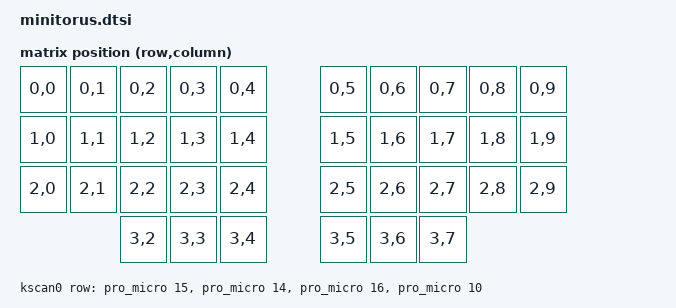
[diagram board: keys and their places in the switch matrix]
#include <dt-bindings/zmk/matrix_transform.h>
#include "minitorus-layout.dtsi"

&physical_layout0 {
  transform = <&default_transform>;
};

    / {
        chosen {
            zmk,kscan = &kscan0;
            zmk,physical-layout = &physical_layout0;
        };

        default_transform: keymap_transform_0 {
            compatible = "zmk,matrix-transform";
            columns = <10>;
            rows = <4>;

                // Serve para utilizar como referência: como exemplo, caso queira utilizar um combo, precisa referenciar o número do Switch's (53 54)
                // ┌──────┬──────┬──────┬──────┬──────┐         ┌──────┬──────┬──────┬──────┬──────┐
                // │ SW0  │  SW1 |  SW2 |  SW3 |  SW4 |         │  SW5 |  SW6 │  SW7 |  SW8 | SW9  |
                // ├──────┼──────┼──────┼──────┼──────┤         ├──────┼──────┼──────┼──────┼──────┤
                // │ SW10 | SW11 | SW12 | SW13 | SW14 |         │ SW15 | SW16 | SW17 | SW18 | SW19 |
                // ├──────┼──────┼──────┼──────┼──────┤         ├──────┼──────┼──────┼──────┼──────┤
                // │ SW20 | SW21 | SW22 | SW23 | SW24 |         │ SW25 | SW26 | SW27 | SW28 | SW29 |
                // └──────┴──────┴──────┼──────┼──────┤         ├──────┼──────┼──────┴──────┴──────┘
                //                      | SW30 | SW31 |         │ SW32 | SW33 |
                //                      └──────┴──────┘         └──────┴──────┘


            map = <
                RC(0,0) RC(0,1) RC(0,2) RC(0,3) RC(0,4)         RC(0,5) RC(0,6) RC(0,7) RC(0,8) RC(0,9)
                RC(1,0) RC(1,1) RC(1,2) RC(1,3) RC(1,4)         RC(1,5) RC(1,6) RC(1,7) RC(1,8) RC(1,9)
                RC(2,0) RC(2,1) RC(2,2) RC(2,3) RC(2,4)         RC(2,5) RC(2,6) RC(2,7) RC(2,8) RC(2,9)
                                RC(3,2) RC(3,3) RC(3,4)         RC(3,5) RC(3,6) RC(3,7)
            >;
        };

        kscan0: kscan0 {
            compatible = "zmk,kscan-gpio-matrix";
            


        // Essas linhas precisam estar igualmentente soldadas em cada lado. Se a linha do 'qwert' estiver soldada na GP/IO 1 no lado esquerdo, no lado direito também precisa estar.
            diode-direction = "col2row";
            wakeup-source;

            row-gpios
                = <&pro_micro 15 (GPIO_ACTIVE_HIGH | GPIO_PULL_DOWN)>
                , <&pro_micro 14 (GPIO_ACTIVE_HIGH | GPIO_PULL_DOWN)>
                , <&pro_micro 16 (GPIO_ACTIVE_HIGH | GPIO_PULL_DOWN)>
                , <&pro_micro 10 (GPIO_ACTIVE_HIGH | GPIO_PULL_DOWN)>
                ;

        };
    };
